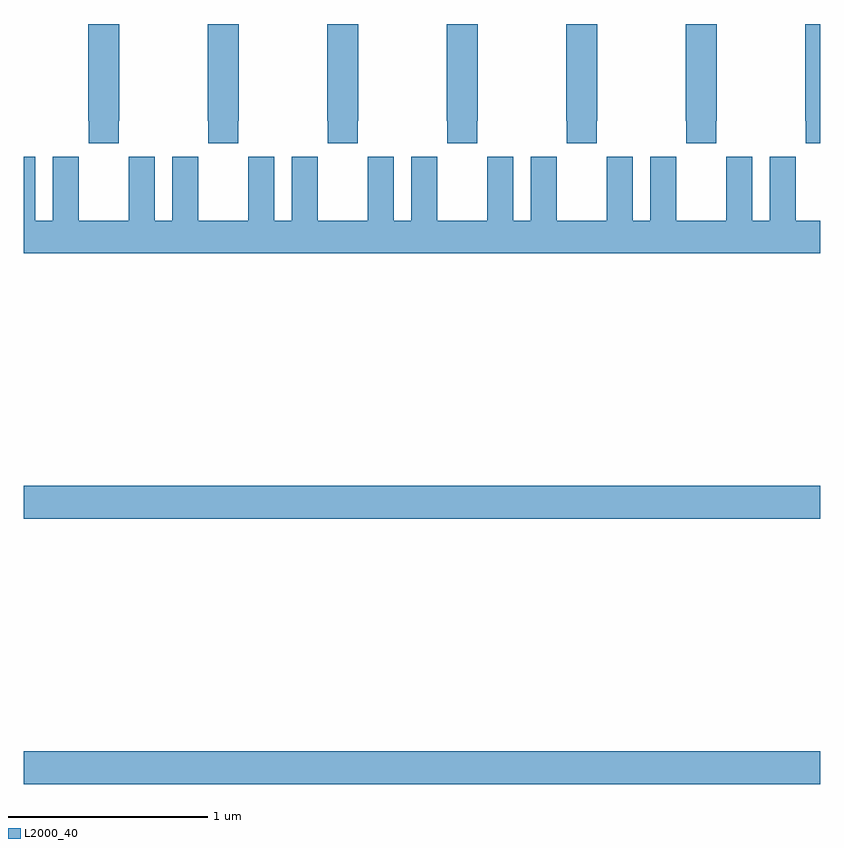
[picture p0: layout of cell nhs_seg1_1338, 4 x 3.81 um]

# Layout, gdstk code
import gdstk
lib = gdstk.Library(unit=1e-6, precision=1e-09)
def R(c, l, rs):  # rectangles x0, y0, x1, y1
    for r in rs: c.add(gdstk.rectangle(r[:2], r[2:], *l))
def P(c, l, *ps):  # polygons
    for p in ps: c.add(gdstk.Polygon(p, *l))
L2000_40 = (2000, 40)

nhs_seg1_1338 = lib.new_cell('nhs_seg1_1338')
R(nhs_seg1_1338, L2000_40, [(183,566.384,187,566.548), (183,567.716,187,567.88)])
P(nhs_seg1_1338, L2000_40, [(187,570.199),(186.925,570.199),(186.925,569.713),(186.927,569.713),(186.927,569.601),(187,569.601)],
  [(183.477,569.713),(183.48,569.713),(183.48,570.199),(183.325,570.199),(183.325,569.713),(183.327,569.713),(183.327,569.601),(183.477,569.601)],
  [(184.077,569.713),(184.08,569.713),(184.08,570.199),(183.925,570.199),(183.925,569.713),(183.927,569.713),(183.927,569.601),(184.077,569.601)],
  [(184.677,569.713),(184.68,569.713),(184.68,570.199),(184.525,570.199),(184.525,569.713),(184.527,569.713),(184.527,569.601),(184.677,569.601)],
  [(185.277,569.713),(185.28,569.713),(185.28,570.199),(185.125,570.199),(185.125,569.713),(185.127,569.713),(185.127,569.601),(185.277,569.601)],
  [(185.877,569.713),(185.88,569.713),(185.88,570.199),(185.725,570.199),(185.725,569.713),(185.727,569.713),(185.727,569.601),(185.877,569.601)],
  [(186.477,569.713),(186.48,569.713),(186.48,570.199),(186.325,570.199),(186.325,569.713),(186.327,569.713),(186.327,569.601),(186.477,569.601)],
  [(183,569.533),(183,569.048),(187,569.048),(187,569.212),(186.877,569.212),(186.877,569.42),(186.876,569.42),(186.876,569.533),(186.746,569.533),(186.746,569.212),(186.658,569.212),(186.658,569.533),(186.528,569.533),(186.528,569.42),(186.527,569.42),(186.527,569.212),(186.277,569.212),(186.277,569.42),(186.276,569.42),(186.276,569.533),(186.146,569.533),(186.146,569.212),(186.058,569.212),(186.058,569.533),(185.928,569.533),(185.928,569.42),(185.927,569.42),(185.927,569.212),(185.677,569.212),(185.677,569.42),(185.676,569.42),(185.676,569.533),(185.546,569.533),(185.546,569.212),(185.458,569.212),(185.458,569.533),(185.328,569.533),(185.328,569.42),(185.327,569.42),(185.327,569.212),(185.077,569.212),(185.077,569.42),(185.076,569.42),(185.076,569.533),(184.946,569.533),(184.946,569.212),(184.858,569.212),(184.858,569.533),(184.728,569.533),(184.728,569.42),(184.727,569.42),(184.727,569.212),(184.477,569.212),(184.477,569.42),(184.476,569.42),(184.476,569.533),(184.346,569.533),(184.346,569.212),(184.258,569.212),(184.258,569.533),(184.128,569.533),(184.128,569.42),(184.127,569.42),(184.127,569.212),(183.877,569.212),(183.877,569.42),(183.876,569.42),(183.876,569.533),(183.746,569.533),(183.746,569.212),(183.658,569.212),(183.658,569.533),(183.528,569.533),(183.528,569.42),(183.527,569.42),(183.527,569.212),(183.277,569.212),(183.277,569.42),(183.276,569.42),(183.276,569.533),(183.146,569.533),(183.146,569.212),(183.058,569.212),(183.058,569.533)])

lib.write_gds('nhs_seg1_1338.gds')
